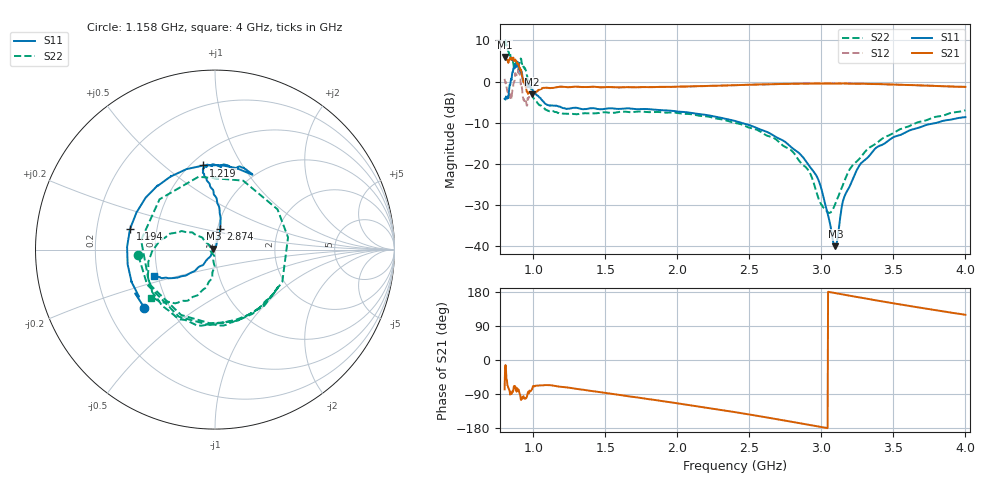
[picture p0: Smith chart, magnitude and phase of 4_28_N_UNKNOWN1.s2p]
!Keysight Technologies N9950B: A.12.38
!Date: Friday, 28 April 2023 16:52:44
!Timezone: (UTC-06:00) Central Time (US & Canada)
!Model: N9950B
!Serial: MY61131330
!GPS Latitude:
!GPS Longitude:
!GPS TimeStamp: 0001-01-01 00:00:00Z
!GPS Seconds Since Last Read: 0
!CHECKSUM:1612262541
!Correction: S11(ON U)S21(ON U)S12(ON U)S22(ON U)
!S2P File: Measurements:S11,S21,S12,S22:
# Hz S DB R 50
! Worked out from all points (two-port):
!   1001 points, 800 MHz to 4 GHz, reference 50 ohm
!   highest |S21| = 5.98 dB at 800 MHz (marker M1); lowest = -3.1 dB at 992 MHz (marker M2)
!   |S21| within 3 dB of the highest: start of sweep to 908 MHz; 911.8937 MHz to 912.0658 MHz (172.1 kHz wide, 0.0189 % of centre)
!   lowest |S11| = -39.9 dB at 3.098 GHz (marker M3), VSWR 1.02, Z = 49.1 + j0.499 ohm
!   |S11| at or under -10 dB: 2.441 GHz to 3.798 GHz (1.357 GHz wide, 43.5 % of centre)
!   |S22| runs from -31.9 to 10.0 dB; largest |S21 - S12| = 1.3
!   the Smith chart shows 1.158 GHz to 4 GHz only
!   S11 on the Smith chart (normalised r, x): 1.158 GHz: 0.36, -0.31; 1.194 GHz: 0.35, +0.10; 1.219 GHz: 0.57, +0.69; 2.874 GHz: 1.03, +0.24; 4 GHz: 0.48, -0.16
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8e8  -4.15 81.7  5.98 -77.6  0.70 -93.0  10.01 74.6
8.192e8  -4.09 50.8  5.33 -66.2  -2.44 -84.9  8.88 -21.2
8.32e8  -1.74 8.4  5.24 -79.0  -3.22 -94.5  6.71 -8.4
8.512e8  1.58 170.3  5.70 -86.5  -2.88 -92.5  5.29 7.2
8.736e8  4.26 -87.5  5.39 -69.6  2.11 -67.4  3.97 -9.2
8.832e8  3.59 -172.6  4.85 -83.5  1.55 -81.3  4.94 -28.5
8.96e8  4.57 166.0  4.39 -77.9  3.78 -78.1  4.26 -46.6
9.28e8  0.44 138.5  0.44 -97.2  -3.91 -86.5  4.03 -84.4
9.568e8  -1.39 157.7  -2.45 -94.0  -5.84 -82.3  1.36 -114.7
9.92e8  -1.93 -169.4  -3.09 -76.5  -3.11 -76.5  -2.64 -136.2
1.1584e9  -5.80 -140.9  -1.37 -69.0  -1.38 -69.0  -7.36 -175.7
1.1936e9  -6.25 166.4  -1.21 -70.9  -1.22 -70.9  -7.59 137.8
1.2192e9  -6.50 97.9  -1.27 -71.8  -1.27 -71.9  -7.77 -62.2
1.3344e9  -6.63 75.9  -1.29 -78.0  -1.31 -77.9  -7.79 -54.6
1.8688e9  -6.87 98.4  -1.27 -107.1  -1.28 -107.1  -7.36 -133.5
2.4e9  -9.53 92.0  -0.86 -137.6  -0.87 -137.6  -10.00 172.0
2.8736e9  -18.39 76.1  -0.48 -168.4  -0.49 -168.4  -20.28 136.6
2.9344e9  -21.32 73.1  -0.44 -172.5  -0.45 -172.4  -23.31 141.3
3.0976e9  -39.95 149.7  -0.46 176.3  -0.47 176.4  -29.59 -99.2
3.248e9  -21.31 -128.5  -0.50 166.2  -0.50 166.2  -19.27 -93.4
3.4688e9  -14.24 -136.9  -0.67 151.6  -0.68 151.6  -13.04 -104.4
4e9  -8.62 -156.2  -1.27 119.3  -1.26 119.2  -6.98 -143.2
